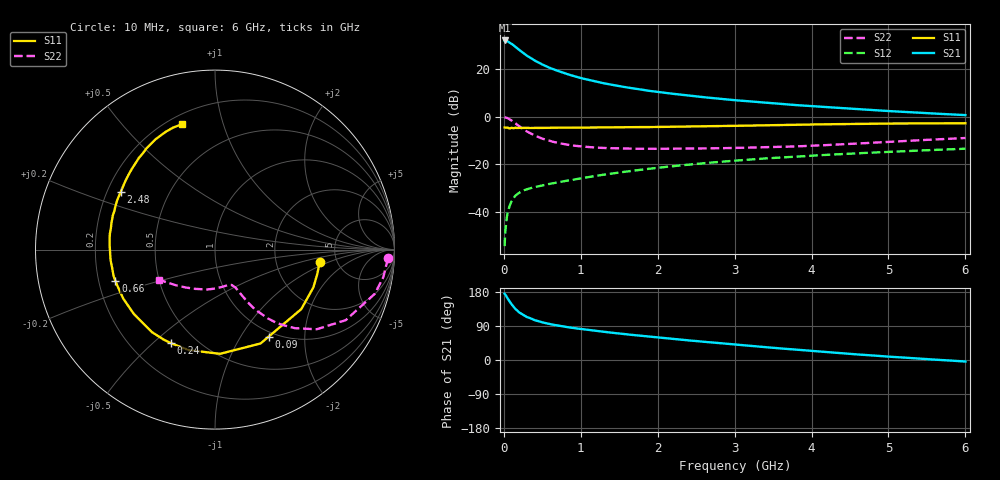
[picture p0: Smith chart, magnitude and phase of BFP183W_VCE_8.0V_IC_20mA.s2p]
! Infineon Technologies  Discrete & RF Semiconductors
! BFP183W
! VCE = 8.0 V,  IC =  20 mA
! Common Emitter S-Parameters:  Jan 2016
# GHz  S  MA  R  50
!  f  S11  S21  S12  S22
! GHz  MAG  ANG  MAG  ANG  MAG  ANG  MAG  ANG
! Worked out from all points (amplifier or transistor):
!   210 points, 10 MHz to 6 GHz, reference 50 ohm
!   highest |S21| = 31.9 dB at 10 MHz (marker M1)
!   |S21| within 3 dB of that: start of sweep to 164.4 MHz
!   unconditionally stable (mu >= 1): 1.04 GHz to 5.378 GHz
!   at 185 MHz: K = 0.32, MSG = 30.3 dB, |S12| = -32.3 dB
!   at 1.52 GHz: K = 1.10, MAG = 16.1 dB, |S12| = -23.4 dB
!   at 6 GHz: K = 0.98, MSG = 7.1 dB, |S12| = -13.5 dB
!   S11 on the Smith chart (normalised r, x): 10 MHz: 3.68, -0.77; 90 MHz: 0.93, -1.34; 240 MHz: 0.37, -0.57; 660 MHz: 0.27, -0.14; 2.48 GHz: 0.26, +0.27; 6 GHz: 0.25, +0.74
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0.01  0.588 -6.7  39.44 174.8  0.0019 88.7  0.9647 -2.9
0.02  0.5858 -13.9  39.15 172.3  0.0039 79.9  0.9557 -6.2
0.03  0.5872 -21.0  38.94 168.9  0.0058 82.5  0.9504 -9.3
0.05  0.5839 -34.6  37.75 161.8  0.0098 76.6  0.924 -15.4
0.09  0.5696 -58.3  34.34 150.1  0.0153 65.7  0.8437 -25.5
0.1  0.5813 -64.1  33.73 146.9  0.0167 64.1  0.8282 -28.3
0.15  0.5814 -87.2  29.19 134.6  0.0218 56.5  0.7205 -38.0
0.2  0.5788 -104.6  25.01 125.5  0.0252 51.6  0.6247 -44.5
0.24  0.5762 -115.0  22.34 120.2  0.0274 49.0  0.5625 -48.2
0.3  0.5787 -127.4  18.89 113.3  0.0298 46.4  0.4847 -52.4
0.4  0.577 -141.8  14.98 105.2  0.033 45.0  0.399 -56.3
0.5  0.5795 -151.8  12.33 99.1  0.0356 45.6  0.3427 -58.2
0.66  0.5815 -162.7  9.609 92.4  0.0403 47.0  0.2894 -59.8
0.8  0.582 -169.8  7.963 87.4  0.0444 48.9  0.2601 -60.8
1.02  0.5849 -178.0  6.3 81.3  0.0509 51.0  0.2347 -62.3
1.4  0.5924 171.1  4.637 72.0  0.0633 53.3  0.2159 -65.8
2.02  0.6041 157.0  3.251 59.2  0.0846 54.0  0.21 -74.4
2.48  0.616 148.3  2.663 50.4  0.1004 52.7  0.2126 -82.5
3.1  0.6407 137.6  2.138 39.3  0.1216 49.9  0.2204 -95.2
4.1  0.6836 123.0  1.616 22.5  0.1538 44.2  0.2477 -118.5
5.1  0.7125 112.0  1.275 7.7  0.184 38.1  0.2994 -139.1
6  0.7224 104.9  1.07 -4.0  0.2108 33.0  0.3537 -151.8
